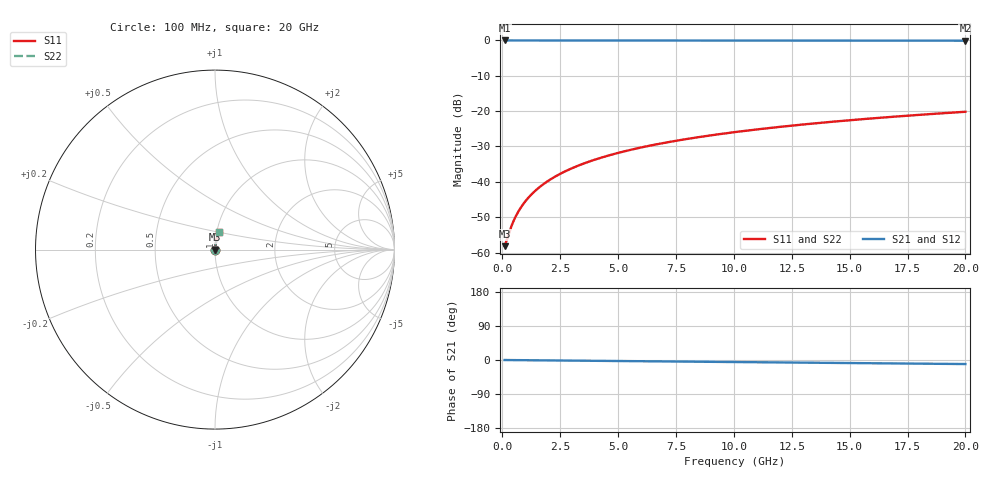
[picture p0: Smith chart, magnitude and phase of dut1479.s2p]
! Touchstone file exported from HFSS 2026.1.0
!  File:  C:/ffzhzh/LocalFiles/Ansys_Project_Files/temp_train_TSV_1479_1783198522_43440.aedt
!  Generated:  04:57:30 AM Jul  5, 2026
!  Design:  TSV
!  Project:  temp_train_TSV_1479_1783198522_43440
! Variables:
!  h_bsmrdl = 2um
!  h_ox = 20um
!  h_rdl = 5um
!  h_sub = 93.48um
!  h_tmrdl = 5um
!  h_tsv = 93.48um
!  h_via = 3um
!  l_bsmrdl = 300um
!  l_sub = 406.26um
!  l_tmrdl = 200um
!  m_sub = 200um
!  pitch = 33.47um
!  r_tsv = 3.13um
!  s_tmrdl = 10um
!  w_bsmrdl = 18um
!  w_sub = 500um
!  w_tmrdl = 12um
!  x_tsv_center1 = 206um
!  x_tsv_center2 = 524um
!  x_tsv_center3 = 736um
!  x_tsv_center4 = 1054um
!  x_tsv_center5 = 1266um
!  x_tsv_center6 = 1584um
# GHz S MA R 50.000000
! Terminal data exported
! Port[1] = TSV1_1_T1
! Port[2] = TSV1_1_T2
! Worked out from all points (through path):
!   200 points, 100 MHz to 20 GHz, reference 50 ohm
!   highest |S21| = -0.01 dB at 100 MHz (marker M1); lowest = -0.1 dB at 20 GHz (marker M2)
!   group delay of S21, straight-line fit = 1.48 ps
!   lowest |S11| = -58.2 dB at 100 MHz (marker M3), VSWR 1.00, Z = 50.1 + j0.0531 ohm
!   |S11| at or under -10 dB: start of sweep to end of sweep
!   |S22| runs from -58.2 to -20.2 dB; largest |S21 - S12| = 3.1e-15
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0.1  0.00123 25.5  0.9989 -0.1  0.9989 -0.1  0.00123 25.5
! Gamma 0 0 0 0
! Port Impedance 50 0 50 0
0.3  0.001942 54.3  0.9989 -0.2  0.9989 -0.2  0.001942 54.3
0.4  0.002388 61.3  0.9989 -0.2  0.9989 -0.2  0.002388 61.3
0.5  0.002857 66.0  0.9988 -0.3  0.9988 -0.3  0.002857 66.0
0.6  0.003338 69.4  0.9988 -0.3  0.9988 -0.3  0.003338 69.4
0.7  0.003829 71.9  0.9988 -0.4  0.9988 -0.4  0.003829 71.9
0.9  0.004824 75.4  0.9988 -0.5  0.9988 -0.5  0.004824 75.4
1.2  0.006338 78.4  0.9988 -0.7  0.9988 -0.7  0.006338 78.4
1.4  0.007354 79.7  0.9988 -0.8  0.9988 -0.8  0.007354 79.7
1.7  0.008884 81.0  0.9987 -0.9  0.9987 -0.9  0.008884 81.0
2.2  0.01144 82.3  0.9986 -1.2  0.9986 -1.2  0.01144 82.3
2.8  0.0145 83.1  0.9985 -1.5  0.9985 -1.5  0.0145 83.1
3.5  0.01806 83.4  0.9984 -1.9  0.9984 -1.9  0.01806 83.4
4.2  0.02161 83.5  0.9982 -2.3  0.9982 -2.3  0.02161 83.5
5  0.02563 83.4  0.9979 -2.7  0.9979 -2.7  0.02563 83.4
5.9  0.03013 83.2  0.9977 -3.2  0.9977 -3.2  0.03013 83.2
6.8  0.0346 82.9  0.9973 -3.7  0.9973 -3.7  0.0346 82.9
8.3  0.04198 82.3  0.9968 -4.5  0.9968 -4.5  0.04198 82.3
10.1  0.05075 81.6  0.9961 -5.5  0.9961 -5.5  0.05075 81.6
13.4  0.06666 80.2  0.9947 -7.2  0.9947 -7.2  0.06666 80.2
16.7  0.08239 78.7  0.9932 -8.9  0.9932 -8.9  0.08239 78.7
20  0.09796 77.1  0.9914 -10.7  0.9914 -10.7  0.09796 77.1
